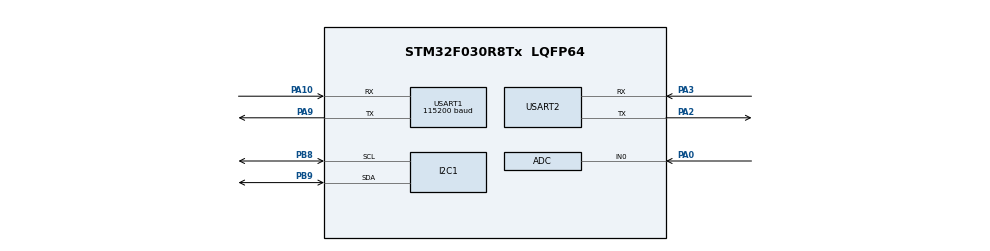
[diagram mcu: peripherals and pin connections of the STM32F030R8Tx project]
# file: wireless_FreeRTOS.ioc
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FREERTOS.Tasks01=defaultTask,0,256,StartDefaultTask,Default,NULL,Dynamic,NULL,NULL
FREERTOS.configGENERATE_RUN_TIME_STATS=1
FREERTOS.configMINIMAL_STACK_SIZE=128
FREERTOS.configTIMER_TASK_PRIORITY=1
FREERTOS.configTOTAL_HEAP_SIZE=4096
FREERTOS.configUSE_TIMERS=0
FREERTOS.configUSE_TRACE_FACILITY=1
Mcu.Family=STM32F0
Mcu.Name=STM32F030R8Tx
Mcu.Package=LQFP64
NVIC.TIM1_BRK_UP_TRG_COM_IRQn=true\:0\:0\:false\:false\:true\:false\:false
NVIC.TimeBase=TIM1_BRK_UP_TRG_COM_IRQn
NVIC.TimeBaseIP=TIM1
NVIC.USART1_IRQn=true\:3\:0\:false\:false\:true\:true\:true
PA0.Mode=IN0
PA0.Signal=ADC_IN0
PA10.Mode=Asynchronous
PA10.Signal=USART1_RX
PA2.Mode=Asynchronous
PA2.Signal=USART2_TX
PA3.Mode=Asynchronous
PA3.Signal=USART2_RX
PA9.Mode=Asynchronous
PA9.Signal=USART1_TX
PB8.Mode=I2C
PB8.Signal=I2C1_SCL
PB9.Mode=I2C
PB9.Signal=I2C1_SDA
ProjectManager.HeapSize=0x200
ProjectManager.StackSize=0x400
ProjectManager.TargetToolchain=SW4STM32
RCC.AHBFreq_Value=8000000
RCC.APB1Freq_Value=8000000
RCC.APB1TimFreq_Value=8000000
RCC.HCLKFreq_Value=8000000
USART1.BaudRate=115200
USART1.VirtualMode-Asynchronous=VM_ASYNC
USART2.VirtualMode-Asynchronous=VM_ASYNC
VP_FREERTOS_VS_ENABLE.Mode=Enabled
VP_SYS_VS_tim1.Mode=TIM1
board=custom

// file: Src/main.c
/**
  ******************************************************************************
  * @file           : main.c
  * @brief          : Main program body
  ******************************************************************************
  * This notice applies to any and all portions of this file
  * that are not between comment pairs USER CODE BEGIN and
  * USER CODE END. Other portions of this file, whether
  * inserted by the user or by software development tools
  * are owned by their respective copyright owners.
  *
  * Copyright (c) 2018 STMicroelectronics International N.V.
  * All rights reserved.
  *
  * Redistribution and use in source and binary forms, with or without
  * modification, are permitted, provided that the following conditions are met:
  *
  * 1. Redistribution of source code must retain the above copyright notice,
  *    this list of conditions and the following disclaimer.
  * 2. Redistributions in binary form must reproduce the above copyright notice,
  *    this list of conditions and the following disclaimer in the documentation
  *    and/or other materials provided with the distribution.
  * 3. Neither the name of STMicroelectronics nor the names of other
  *    contributors to this software may be used to endorse or promote products
  *    derived from this software without specific written permission.
  * 4. This software, including modifications and/or derivative works of this
  *    software, must execute solely and exclusively on microcontroller or
  *    microprocessor devices manufactured by or for STMicroelectronics.
  * 5. Redistribution and use of this software other than as permitted under
  *    this license is void and will automatically terminate your rights under
  *    this license.
  *
  * THIS SOFTWARE IS PROVIDED BY STMICROELECTRONICS AND CONTRIBUTORS "AS IS"
  * AND ANY EXPRESS, IMPLIED OR STATUTORY WARRANTIES, INCLUDING, BUT NOT
  * LIMITED TO, THE IMPLIED WARRANTIES OF MERCHANTABILITY, FITNESS FOR A
  * PARTICULAR PURPOSE AND NON-INFRINGEMENT OF THIRD PARTY INTELLECTUAL PROPERTY
  * RIGHTS ARE DISCLAIMED TO THE FULLEST EXTENT PERMITTED BY LAW. IN NO EVENT
  * SHALL STMICROELECTRONICS OR CONTRIBUTORS BE LIABLE FOR ANY DIRECT, INDIRECT,
  * INCIDENTAL, SPECIAL, EXEMPLARY, OR CONSEQUENTIAL DAMAGES (INCLUDING, BUT NOT
  * LIMITED TO, PROCUREMENT OF SUBSTITUTE GOODS OR SERVICES; LOSS OF USE, DATA,
  * OR PROFITS; OR BUSINESS INTERRUPTION) HOWEVER CAUSED AND ON ANY THEORY OF
  * LIABILITY, WHETHER IN CONTRACT, STRICT LIABILITY, OR TORT (INCLUDING
  * NEGLIGENCE OR OTHERWISE) ARISING IN ANY WAY OUT OF THE USE OF THIS SOFTWARE,
  * EVEN IF ADVISED OF THE POSSIBILITY OF SUCH DAMAGE.
  *
  ******************************************************************************
  */
#include "main.h"
#include "stm32f0xx_hal.h"
#include "cmsis_os.h"

/* USER CODE BEGIN Includes */
#include "stdio.h"
#include "string.h"
#include <mysql.h>
#include <mysql_com.h>
/* USER CODE END Includes */

ADC_HandleTypeDef hadc;

I2C_HandleTypeDef hi2c1;

UART_HandleTypeDef huart1;
UART_HandleTypeDef huart2;

osThreadId defaultTaskHandle;

/* USER CODE BEGIN PV */
/* Private variables ---------------------------------------------------------*/

/* USER CODE END PV */

void SystemClock_Config(void);
static void MX_GPIO_Init(void);
static void MX_USART1_UART_Init(void);
static void MX_USART2_UART_Init(void);
static void MX_ADC_Init(void);
static void MX_I2C1_Init(void);
void StartDefaultTask(void const * argument);

/* USER CODE BEGIN PFP */
/* Private function prototypes -----------------------------------------------*/

/* USER CODE END PFP */

/* USER CODE BEGIN 0 */

/* Buffer used for transmission and number of transmissions */
char ToTransmit[128];
char aTxBuffer[128] = { 0, };
char aRxBuffer[128] = { 0, };
char ConnectDatabase[] = "AT+CIPSTART=\"TCP\",\"145.48.221.20\",80 \r \n";
unsigned int port = 3306;
unsigned int flag = 0;
int connected = 0;
int temp = 0;
int humi = 0;
int light = 0;
int x;
uint8_t buffer_RH, buffer_Temp;
int RH_out, RH;
int Temp_out, Temp;
uint32_t ADCValue;
/* USER CODE END 0 */

int main(void)
{

  /* MCU Configuration----------------------------------------------------------*/

  /* Reset of all peripherals, Initializes the Flash interface and the Systick. */
  HAL_Init();

  /* Configure the system clock */
  SystemClock_Config();

  /* Initialize all configured peripherals */
  MX_GPIO_Init();
  MX_USART1_UART_Init();
  MX_USART2_UART_Init();
  MX_ADC_Init();
  MX_I2C1_Init();

  /* Create the thread(s) */
  /* definition and creation of defaultTask */
  osThreadDef(defaultTask, StartDefaultTask, osPriorityNormal, 0, 256);
  defaultTaskHandle = osThreadCreate(osThread(defaultTask), NULL);

  /* Start scheduler */
  osKernelStart();

  /* We should never get here as control is now taken by the scheduler */

  /* Infinite loop */
	while (1) {

	}

}

void SystemClock_Config(void)
{

  RCC_OscInitTypeDef RCC_OscInitStruct;
  RCC_ClkInitTypeDef RCC_ClkInitStruct;
  RCC_PeriphCLKInitTypeDef PeriphClkInit;

    /**Initializes the CPU, AHB and APB busses clocks
    */
  RCC_OscInitStruct.OscillatorType = RCC_OSCILLATORTYPE_HSI|RCC_OSCILLATORTYPE_HSI14;
  RCC_OscInitStruct.HSIState = RCC_HSI_ON;
  RCC_OscInitStruct.HSI14State = RCC_HSI14_ON;
  RCC_OscInitStruct.HSICalibrationValue = 16;
  RCC_OscInitStruct.HSI14CalibrationValue = 16;
  RCC_OscInitStruct.PLL.PLLState = RCC_PLL_NONE;
  if (HAL_RCC_OscConfig(&RCC_OscInitStruct) != HAL_OK)
  {
    _Error_Handler(__FILE__, __LINE__);
  }

    /**Initializes the CPU, AHB and APB busses clocks
    */
  RCC_ClkInitStruct.ClockType = RCC_CLOCKTYPE_HCLK|RCC_CLOCKTYPE_SYSCLK
                              |RCC_CLOCKTYPE_PCLK1;
  RCC_ClkInitStruct.SYSCLKSource = RCC_SYSCLKSOURCE_HSI;
  RCC_ClkInitStruct.AHBCLKDivider = RCC_SYSCLK_DIV1;
  RCC_ClkInitStruct.APB1CLKDivider = RCC_HCLK_DIV1;

  if (HAL_RCC_ClockConfig(&RCC_ClkInitStruct, FLASH_LATENCY_0) != HAL_OK)
  {
    _Error_Handler(__FILE__, __LINE__);
  }

  PeriphClkInit.PeriphClockSelection = RCC_PERIPHCLK_USART1|RCC_PERIPHCLK_I2C1;
  PeriphClkInit.Usart1ClockSelection = RCC_USART1CLKSOURCE_PCLK1;
  PeriphClkInit.I2c1ClockSelection = RCC_I2C1CLKSOURCE_HSI;
  if (HAL_RCCEx_PeriphCLKConfig(&PeriphClkInit) != HAL_OK)
  {
    _Error_Handler(__FILE__, __LINE__);
  }

    /**Configure the Systick interrupt time
    */
  HAL_SYSTICK_Config(HAL_RCC_GetHCLKFreq()/1000);

    /**Configure the Systick
    */
  HAL_SYSTICK_CLKSourceConfig(SYSTICK_CLKSOURCE_HCLK);

  /* SysTick_IRQn interrupt configuration */
  HAL_NVIC_SetPriority(SysTick_IRQn, 3, 0);
}

/* ADC init function */
static void MX_ADC_Init(void)
{

  ADC_ChannelConfTypeDef sConfig;

    /**Configure the global features of the ADC (Clock, Resolution, Data Alignment and number of conversion)
    */
  hadc.Instance = ADC1;
  hadc.Init.ClockPrescaler = ADC_CLOCK_ASYNC_DIV1;
  hadc.Init.Resolution = ADC_RESOLUTION_12B;
  hadc.Init.DataAlign = ADC_DATAALIGN_RIGHT;
  hadc.Init.ScanConvMode = ADC_SCAN_DIRECTION_FORWARD;
  hadc.Init.EOCSelection = ADC_EOC_SINGLE_CONV;
  hadc.Init.LowPowerAutoWait = DISABLE;
  hadc.Init.LowPowerAutoPowerOff = DISABLE;
  hadc.Init.ContinuousConvMode = DISABLE;
  hadc.Init.DiscontinuousConvMode = DISABLE;
  hadc.Init.ExternalTrigConv = ADC_SOFTWARE_START;
  hadc.Init.ExternalTrigConvEdge = ADC_EXTERNALTRIGCONVEDGE_NONE;
  hadc.Init.DMAContinuousRequests = DISABLE;
  hadc.Init.Overrun = ADC_OVR_DATA_PRESERVED;
  if (HAL_ADC_Init(&hadc) != HAL_OK)
  {
    _Error_Handler(__FILE__, __LINE__);
  }

    /**Configure for the selected ADC regular channel to be converted.
    */
  sConfig.Channel = ADC_CHANNEL_0;
  sConfig.Rank = ADC_RANK_CHANNEL_NUMBER;
  sConfig.SamplingTime = ADC_SAMPLETIME_1CYCLE_5;
  if (HAL_ADC_ConfigChannel(&hadc, &sConfig) != HAL_OK)
  {
    _Error_Handler(__FILE__, __LINE__);
  }

}

/* I2C1 init function */
static void MX_I2C1_Init(void)
{

  hi2c1.Instance = I2C1;
  hi2c1.Init.Timing = 0x2000090E;
  hi2c1.Init.OwnAddress1 = 0;
  hi2c1.Init.AddressingMode = I2C_ADDRESSINGMODE_7BIT;
  hi2c1.Init.DualAddressMode = I2C_DUALADDRESS_DISABLE;
  hi2c1.Init.OwnAddress2 = 0;
  hi2c1.Init.OwnAddress2Masks = I2C_OA2_NOMASK;
  hi2c1.Init.GeneralCallMode = I2C_GENERALCALL_DISABLE;
  hi2c1.Init.NoStretchMode = I2C_NOSTRETCH_DISABLE;
  if (HAL_I2C_Init(&hi2c1) != HAL_OK)
  {
    _Error_Handler(__FILE__, __LINE__);
  }

    /**Configure Analogue filter
    */
  if (HAL_I2CEx_ConfigAnalogFilter(&hi2c1, I2C_ANALOGFILTER_ENABLE) != HAL_OK)
  {
    _Error_Handler(__FILE__, __LINE__);
  }

    /**Configure Digital filter
    */
  if (HAL_I2CEx_ConfigDigitalFilter(&hi2c1, 0) != HAL_OK)
  {
    _Error_Handler(__FILE__, __LINE__);
  }

}

/* USART1 init function */
static void MX_USART1_UART_Init(void)
{

  huart1.Instance = USART1;
  huart1.Init.BaudRate = 115200;
  huart1.Init.WordLength = UART_WORDLENGTH_8B;
  huart1.Init.StopBits = UART_STOPBITS_1;
  huart1.Init.Parity = UART_PARITY_NONE;
  huart1.Init.Mode = UART_MODE_TX_RX;
  huart1.Init.HwFlowCtl = UART_HWCONTROL_NONE;
  huart1.Init.OverSampling = UART_OVERSAMPLING_16;
  huart1.Init.OneBitSampling = UART_ONE_BIT_SAMPLE_DISABLE;
  huart1.AdvancedInit.AdvFeatureInit = UART_ADVFEATURE_NO_INIT;
  if (HAL_UART_Init(&huart1) != HAL_OK)
  {
    _Error_Handler(__FILE__, __LINE__);
  }

}

/* USART2 init function */
static void MX_USART2_UART_Init(void)
{

  huart2.Instance = USART2;
  huart2.Init.BaudRate = 38400;
  huart2.Init.WordLength = UART_WORDLENGTH_8B;
  huart2.Init.StopBits = UART_STOPBITS_1;
  huart2.Init.Parity = UART_PARITY_NONE;
  huart2.Init.Mode = UART_MODE_TX_RX;
  huart2.Init.HwFlowCtl = UART_HWCONTROL_NONE;
  huart2.Init.OverSampling = UART_OVERSAMPLING_16;
  huart2.Init.OneBitSampling = UART_ONE_BIT_SAMPLE_DISABLE;
  huart2.AdvancedInit.AdvFeatureInit = UART_ADVFEATURE_NO_INIT;
  if (HAL_UART_Init(&huart2) != HAL_OK)
  {
    _Error_Handler(__FILE__, __LINE__);
  }

}

/** Pinout Configuration
*/
static void MX_GPIO_Init(void)
{

  /* GPIO Ports Clock Enable */
  __HAL_RCC_GPIOA_CLK_ENABLE();
  __HAL_RCC_GPIOB_CLK_ENABLE();

}

/* USER CODE BEGIN 4 */
void receiveData(uint8_t* dataBuffer, uint8_t temp) {

	HAL_I2C_Master_Transmit(&hi2c1, 0x40<<1, &temp, 1, 100);

	HAL_I2C_Master_Receive(&hi2c1, 0x40<<1, dataBuffer, 1, 100);
}

int receiveI2CTemp() {

	receiveData(&buffer_Temp, 0xE0);

	buffer_Temp -= 78;

	Temp = buffer_Temp;

	return Temp;
}

int receiveI2CHum() {

	receiveData(&buffer_RH, 0xE5);
	buffer_RH /= 2;
	RH = buffer_RH - 6;

	return RH;
}

int getLightValue() {

	 ADCValue = HAL_ADC_GetValue(&hadc);

	 return ADCValue / 10;
}

void measurements() {
	HAL_ADC_Start(&hadc);

	    light = getLightValue();
		humi = receiveI2CHum();
		temp = receiveI2CTemp();

	    osDelay(1000);
	    HAL_ADC_Stop(&hadc);
}

void printS(char string[]) {		//This function prints the string over the STM's debugging serial
	HAL_UART_Transmit(&huart2, (uint8_t *) string, strlen(string), 100);
}

void SendPacket() {					//This function transmits the data inside aTxBuffer to the uart1 (esp8266)
	void (*printSP)(char[]) = &printS;
	HAL_UART_Transmit(&huart1, (uint8_t *) aTxBuffer, strlen(aTxBuffer), 1000);
	(*printSP)(aTxBuffer);
}

void ReceivePacket(){				//This function stores the received data into the aRxBuffer
	void (*printSP)(char[]) = &printS;
	HAL_UART_Receive(&huart1, (uint8_t *) aRxBuffer, strlen(aRxBuffer), 1000);
	(*printSP)(aRxBuffer);
}
void Connect(int times) {			//This function connects to the webserver hosting the PHP script and puts the ESP8266 in CIPSEND mode
	for (int x = 0; x < times; x++) {
		strncpy(aTxBuffer, "AT+CIPSTART=\"TCP\",\"145.48.221.12\",80\r\n", 128);
		SendPacket();
		//ReceivePacket();
		if (x == (times - 1)) {
			strncpy(aTxBuffer, "AT+CIPMODE=1\r\n", 128);
			SendPacket();
			strncpy(aTxBuffer, "AT+CIPSEND\r\n", 128);
			SendPacket();
		}
		osDelay(1000);
	}
	connected = 1;
}

void SendValues() {					//this function transmits the values in the temp, humi and light parameters in the HTTP GET format
	snprintf (aTxBuffer, 256, "GET /ENG/mjosephs/?temp=%d&humi=%d&light=%d HTTP/1.1\r\nHost: student.aii.avans.nl\r\n\r\n", temp, humi, light);
	SendPacket();
	//connected = 2;
}
/* USER CODE END 4 */

void StartDefaultTask(void const * argument)
{

  /* USER CODE BEGIN 5 */
	/* Infinite loop */
	void (*printSP)(char[]) = &printS;
	for (;;) {
		switch (connected) {
		case 0:
			Connect(5);
			(*printSP)("Connected to server");
			break;
		case 1:
			measurements();
			SendValues();
			osDelay(30000);
			ReceivePacket();
			break;
		default:
			break;
		}
	}
  /* USER CODE END 5 */
}

void HAL_TIM_PeriodElapsedCallback(TIM_HandleTypeDef *htim)
{
  /* USER CODE BEGIN Callback 0 */
////////////////
  /* USER CODE END Callback 0 */
  if (htim->Instance == TIM1) {
    HAL_IncTick();
  }
  /* USER CODE BEGIN Callback 1 */
//////////////
  /* USER CODE END Callback 1 */
}

void _Error_Handler(char *file, int line)
{
	while (1) {
	}
}

/************************ (C) COPYRIGHT STMicroelectronics *****END OF FILE****/

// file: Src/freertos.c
/* USER CODE BEGIN Header */
/**
  ******************************************************************************
  * File Name          : freertos.c
  * Description        : Code for freertos applications
  ******************************************************************************
  * This notice applies to any and all portions of this file
  * that are not between comment pairs USER CODE BEGIN and
  * USER CODE END. Other portions of this file, whether
  * inserted by the user or by software development tools
  * are owned by their respective copyright owners.
  *
  * Copyright (c) 2018 STMicroelectronics International N.V.
  * All rights reserved.
  *
  * Redistribution and use in source and binary forms, with or without
  * modification, are permitted, provided that the following conditions are met:
  *
  * 1. Redistribution of source code must retain the above copyright notice,
  *    this list of conditions and the following disclaimer.
  * 2. Redistributions in binary form must reproduce the above copyright notice,
  *    this list of conditions and the following disclaimer in the documentation
  *    and/or other materials provided with the distribution.
  * 3. Neither the name of STMicroelectronics nor the names of other
  *    contributors to this software may be used to endorse or promote products
  *    derived from this software without specific written permission.
  * 4. This software, including modifications and/or derivative works of this
  *    software, must execute solely and exclusively on microcontroller or
  *    microprocessor devices manufactured by or for STMicroelectronics.
  * 5. Redistribution and use of this software other than as permitted under
  *    this license is void and will automatically terminate your rights under
  *    this license.
  *
  * THIS SOFTWARE IS PROVIDED BY STMICROELECTRONICS AND CONTRIBUTORS "AS IS"
  * AND ANY EXPRESS, IMPLIED OR STATUTORY WARRANTIES, INCLUDING, BUT NOT
  * LIMITED TO, THE IMPLIED WARRANTIES OF MERCHANTABILITY, FITNESS FOR A
  * PARTICULAR PURPOSE AND NON-INFRINGEMENT OF THIRD PARTY INTELLECTUAL PROPERTY
  * RIGHTS ARE DISCLAIMED TO THE FULLEST EXTENT PERMITTED BY LAW. IN NO EVENT
  * SHALL STMICROELECTRONICS OR CONTRIBUTORS BE LIABLE FOR ANY DIRECT, INDIRECT,
  * INCIDENTAL, SPECIAL, EXEMPLARY, OR CONSEQUENTIAL DAMAGES (INCLUDING, BUT NOT
  * LIMITED TO, PROCUREMENT OF SUBSTITUTE GOODS OR SERVICES; LOSS OF USE, DATA,
  * OR PROFITS; OR BUSINESS INTERRUPTION) HOWEVER CAUSED AND ON ANY THEORY OF
  * LIABILITY, WHETHER IN CONTRACT, STRICT LIABILITY, OR TORT (INCLUDING
  * NEGLIGENCE OR OTHERWISE) ARISING IN ANY WAY OUT OF THE USE OF THIS SOFTWARE,
  * EVEN IF ADVISED OF THE POSSIBILITY OF SUCH DAMAGE.
  *
  ******************************************************************************
  */
/* USER CODE END Header */

#include "FreeRTOS.h"
#include "task.h"
#include "main.h"

/* Hook prototypes */
void configureTimerForRunTimeStats(void);
unsigned long getRunTimeCounterValue(void);

/* USER CODE BEGIN 1 */
/* Functions needed when configGENERATE_RUN_TIME_STATS is on */
__weak void configureTimerForRunTimeStats(void)
{

}

__weak unsigned long getRunTimeCounterValue(void)
{
return 0;
}
/* USER CODE END 1 */

/************************ (C) COPYRIGHT STMicroelectronics *****END OF FILE****/
